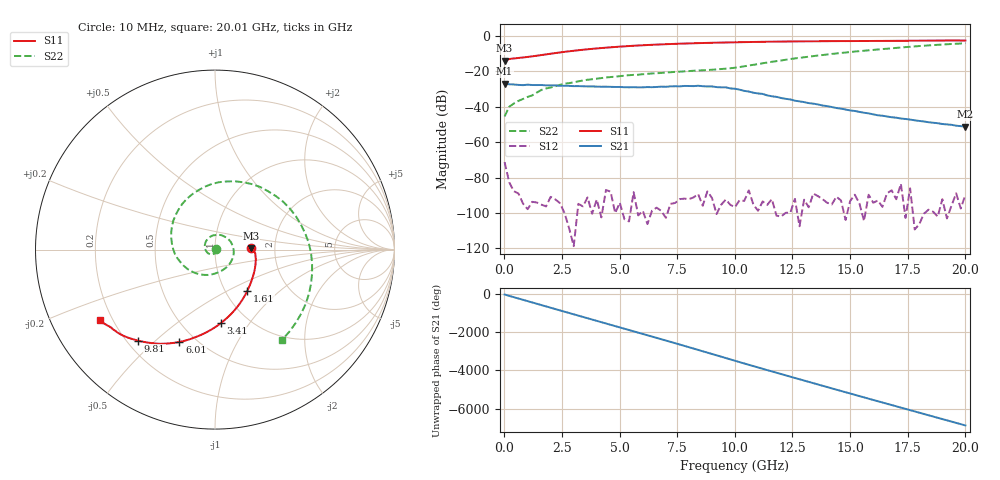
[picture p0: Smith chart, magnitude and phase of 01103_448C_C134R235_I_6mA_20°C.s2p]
!;Filter: kein Filter
!auto
!3/21/2019 9:27:54 AM
!3/21/2019 9:28:10 AM
!SP-Measurements Prober G4
!SP-Measurements Prober G4
!134
!235
!12
!20
!-20
!0.00599970
!2.02
!0.74959551
!0.74959551
# Hz S  RI  R 50
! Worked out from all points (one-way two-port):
!   101 points, 10 MHz to 20.01 GHz, reference 50 ohm
!   highest |S21| = -26.85 dB at 10 MHz (marker M1); lowest = -51.2 dB at 20.01 GHz (marker M2)
!   lowest |S11| = -14.0 dB at 10 MHz (marker M3), VSWR 1.50, Z = 75 + j1.33 ohm
!   |S11| at or under -10 dB: start of sweep to 1.989 GHz
!   |S22| runs from -45.4 to -4.1 dB; largest |S21 - S12| = 0.046
!   S11 on the Smith chart (normalised r, x): 10 MHz: 1.50, +0.03; 1.61 GHz: 1.26, -0.63; 3.41 GHz: 0.75, -0.74; 6.01 GHz: 0.41, -0.61; 9.81 GHz: 0.24, -0.44; 20.01 GHz: 0.15, -0.28
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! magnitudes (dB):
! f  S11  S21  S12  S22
! 10 MHz  -14.0  -26.8  -71.2  -45.4
! 210 MHz  -13.0  -27.2  -82.6  -39.9
! 610 MHz  -12.4  -27.6  -89.0  -36.6
! 1.21 GHz  -11.4  -27.7  -93.7  -33.5
! 1.61 GHz  -10.7  -27.6  -95.3  -30.4
! 2.61 GHz  -8.9  -28.1  -100.0  -26.9
! 3.41 GHz  -7.7  -28.3  -96.3  -25.1
! 4.41 GHz  -6.5  -28.6  -87.0  -23.4
! 6.01 GHz  -5.2  -29.0  -98.8  -21.5
! 6.81 GHz  -4.7  -28.6  -98.8  -20.8
! 8.41 GHz  -4.0  -28.1  -89.3  -19.4
! 9.61 GHz  -3.6  -29.0  -92.4  -18.4
! 9.81 GHz  -3.6  -29.6  -95.4  -18.2
! 10.01 GHz  -3.5  -29.8  -96.7  -17.9
! 10.81 GHz  -3.3  -32.0  -95.3  -16.2
! 11.21 GHz  -3.2  -32.7  -93.5  -15.4
! 12.61 GHz  -3.0  -36.5  -92.0  -12.6
! 13.41 GHz  -2.9  -38.2  -89.0  -11.3
! 16.21 GHz  -2.7  -44.8  -92.9  -7.6
! 16.81 GHz  -2.7  -45.9  -87.2  -6.9
! 18.41 GHz  -2.5  -48.7  -98.1  -5.3
! 20.01 GHz  -2.5  -51.2  -89.6  -4.1
